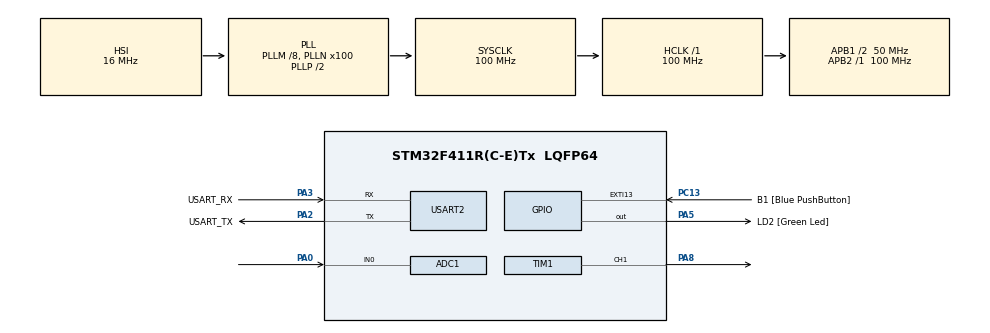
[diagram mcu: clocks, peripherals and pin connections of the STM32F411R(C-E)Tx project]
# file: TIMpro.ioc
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ADC1.Channel-0\#ChannelRegularConversion=ADC_CHANNEL_0
ADC1.ExternalTrigConv=ADC_EXTERNALTRIGCONV_T3_TRGO
ADC1.NbrOfConversionFlag=1
ADC1.Rank-0\#ChannelRegularConversion=1
ADC1.SamplingTime-0\#ChannelRegularConversion=ADC_SAMPLETIME_3CYCLES
ADC1.master=1
Mcu.Family=STM32F4
Mcu.Name=STM32F411R(C-E)Tx
Mcu.Package=LQFP64
NVIC.ADC_IRQn=true\:0\:0\:false\:false\:true\:true\:true
NVIC.PriorityGroup=NVIC_PRIORITYGROUP_0
NVIC.TIM1_TRG_COM_TIM11_IRQn=true\:0\:0\:false\:false\:true\:true\:true
PA0-WKUP.Signal=ADCx_IN0
PA13.GPIO_Label=TMS
PA13.Mode=Serial_Wire
PA13.Signal=SYS_JTMS-SWDIO
PA14.GPIO_Label=TCK
PA14.Mode=Serial_Wire
PA14.Signal=SYS_JTCK-SWCLK
PA2.GPIO_Label=USART_TX
PA2.Mode=Asynchronous
PA2.Signal=USART2_TX
PA3.GPIO_Label=USART_RX
PA3.Mode=Asynchronous
PA3.Signal=USART2_RX
PA5.GPIO_Label=LD2 [Green Led]
PA5.Signal=GPIO_Output
PA8.Signal=S_TIM1_CH1
PB3.GPIO_Label=SWO
PB3.Signal=SYS_JTDO-SWO
PC13-ANTI_TAMP.GPIO_Label=B1 [Blue PushButton]
PC13-ANTI_TAMP.GPIO_ModeDefaultEXTI=GPIO_MODE_IT_FALLING
PC13-ANTI_TAMP.Signal=GPXTI13
PC14-OSC32_IN.Mode=LSE-External-Oscillator
PC14-OSC32_IN.Signal=RCC_OSC32_IN
PC15-OSC32_OUT.Mode=LSE-External-Oscillator
PC15-OSC32_OUT.Signal=RCC_OSC32_OUT
PH0\ -\ OSC_IN.Mode=HSE-External-Clock-Source
PH0\ -\ OSC_IN.Signal=RCC_OSC_IN
PH1\ -\ OSC_OUT.Mode=HSE-External-Clock-Source
PH1\ -\ OSC_OUT.Signal=RCC_OSC_OUT
ProjectManager.HeapSize=0x200
ProjectManager.StackSize=0x400
ProjectManager.TargetToolchain=STM32CubeIDE
RCC.48MHZClocksFreq_Value=50000000
RCC.AHBFreq_Value=100000000
RCC.APB1CLKDivider=RCC_HCLK_DIV2
RCC.APB1Freq_Value=50000000
RCC.APB1TimFreq_Value=100000000
RCC.APB2Freq_Value=100000000
RCC.APB2TimFreq_Value=100000000
RCC.CortexFreq_Value=100000000
RCC.FLatency-AdvancedSettings=FLASH_LATENCY_3
RCC.HCLKFreq_Value=100000000
RCC.HSE_VALUE=8000000
RCC.HSI_VALUE=16000000
RCC.PLLM=8
RCC.PLLN=100
RCC.SYSCLKFreq_VALUE=100000000
RCC.SYSCLKSource=RCC_SYSCLKSOURCE_PLLCLK
RCC.VCOOutputFreq_Value=200000000
SH.ADCx_IN0.0=ADC1_IN0,IN0
SH.S_TIM1_CH1.0=TIM1_CH1,PWM Generation1 CH1
TIM1.Channel-PWM\ Generation1\ CH1=TIM_CHANNEL_1
TIM1.Period=10000-1
TIM11.Prescaler=99
TIM3.Period=999
TIM3.Prescaler=99
TIM3.TIM_MasterOutputTrigger=TIM_TRGO_UPDATE
USART2.VirtualMode=VM_ASYNC
VP_TIM11_VS_ClockSourceINT.Mode=Enable_Timer
VP_TIM1_VS_ClockSourceINT.Mode=Internal
VP_TIM3_VS_ClockSourceINT.Mode=Internal
board=NUCLEO-F411RE

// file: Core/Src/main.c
/* USER CODE BEGIN Header */
/**
 ******************************************************************************
 * @file           : main.c
 * @brief          : Main program body
 ******************************************************************************
 * @attention
 *
 * <h2><center>&copy; Copyright (c) 2021 STMicroelectronics.
 * All rights reserved.</center></h2>
 *
 * This software component is licensed by ST under BSD 3-Clause license,
 * the "License"; You may not use this file except in compliance with the
 * License. You may obtain a copy of the License at:
 *                        opensource.org/licenses/BSD-3-Clause
 *
 ******************************************************************************
 */
/* USER CODE END Header */
#include "main.h"

ADC_HandleTypeDef hadc1;

TIM_HandleTypeDef htim1;
TIM_HandleTypeDef htim3;
TIM_HandleTypeDef htim11;

UART_HandleTypeDef huart2;

/* USER CODE BEGIN PV */

uint8_t ADCUpdateFlag = 0;
//Store ADC Value
uint16_t ADCFeedBack = 0;
//ADC set point
uint16_t ADC_SetPoint = 1241;
//PID parameter
int16_t lastError = 0,error = 0,intregral = 0;
float Kp = 0.1;
float Ki = 0.0001;
float Kd = 0.1;
uint16_t PWMOut = 0; //= 0% PWM

uint64_t _micro = 0;
uint64_t TimeOutputLoop = 0;
/* USER CODE END PV */

void SystemClock_Config(void);
static void MX_GPIO_Init(void);
static void MX_USART2_UART_Init(void);
static void MX_ADC1_Init(void);
static void MX_TIM1_Init(void);
static void MX_TIM11_Init(void);
static void MX_TIM3_Init(void);
/* USER CODE BEGIN PFP */
uint64_t micros();
/* USER CODE END PFP */

int main(void)
{

  /* MCU Configuration--------------------------------------------------------*/

  /* Reset of all peripherals, Initializes the Flash interface and the Systick. */
  HAL_Init();

  /* Configure the system clock */
  SystemClock_Config();

  /* Initialize all configured peripherals */
  MX_GPIO_Init();
  MX_USART2_UART_Init();
  MX_ADC1_Init();
  MX_TIM1_Init();
  MX_TIM11_Init();
  MX_TIM3_Init();
  /* USER CODE BEGIN 2 */
  //ADC and Timer That Call ADC
	HAL_ADC_Start_IT(&hadc1);
	HAL_TIM_Base_Start(&htim3);

	//timer and OC that generate PWM
	HAL_TIM_Base_Start(&htim1);
	HAL_TIM_PWM_Start(&htim1, TIM_CHANNEL_1);

	//Timer For implement micros()
	HAL_TIM_Base_Start_IT(&htim11);

  /* USER CODE END 2 */

  /* Infinite loop */
	while (1) {

    /* USER CODE BEGIN 3 */

		//2 Khz Loop
		if (micros() - TimeOutputLoop > 500) {
			TimeOutputLoop = micros();
			// #001
			//TODO Implement Control
			__HAL_TIM_SET_COMPARE(&htim1, TIM_CHANNEL_1, PWMOut);
		}

		if (ADCUpdateFlag) {
			ADCUpdateFlag = 0;
			//#002
			error = ADC_SetPoint - ADCFeedBack;
			PWMOut = PWMOut + Kp*error + Ki * intregral + Kd*(error-lastError);
			if(PWMOut>=10000){
				PWMOut = 10000;
			}
			else if(PWMOut<=0){
				PWMOut = 0;
			}
			else{
				intregral += error;
			}
			lastError = error;
		}

	}
  /* USER CODE END 3 */
}

void SystemClock_Config(void)
{
  RCC_OscInitTypeDef RCC_OscInitStruct = {0};
  RCC_ClkInitTypeDef RCC_ClkInitStruct = {0};

  /** Configure the main internal regulator output voltage
  */
  __HAL_RCC_PWR_CLK_ENABLE();
  __HAL_PWR_VOLTAGESCALING_CONFIG(PWR_REGULATOR_VOLTAGE_SCALE1);
  /** Initializes the RCC Oscillators according to the specified parameters
  * in the RCC_OscInitTypeDef structure.
  */
  RCC_OscInitStruct.OscillatorType = RCC_OSCILLATORTYPE_HSI;
  RCC_OscInitStruct.HSIState = RCC_HSI_ON;
  RCC_OscInitStruct.HSICalibrationValue = RCC_HSICALIBRATION_DEFAULT;
  RCC_OscInitStruct.PLL.PLLState = RCC_PLL_ON;
  RCC_OscInitStruct.PLL.PLLSource = RCC_PLLSOURCE_HSI;
  RCC_OscInitStruct.PLL.PLLM = 8;
  RCC_OscInitStruct.PLL.PLLN = 100;
  RCC_OscInitStruct.PLL.PLLP = RCC_PLLP_DIV2;
  RCC_OscInitStruct.PLL.PLLQ = 4;
  if (HAL_RCC_OscConfig(&RCC_OscInitStruct) != HAL_OK)
  {
    Error_Handler();
  }
  /** Initializes the CPU, AHB and APB buses clocks
  */
  RCC_ClkInitStruct.ClockType = RCC_CLOCKTYPE_HCLK|RCC_CLOCKTYPE_SYSCLK
                              |RCC_CLOCKTYPE_PCLK1|RCC_CLOCKTYPE_PCLK2;
  RCC_ClkInitStruct.SYSCLKSource = RCC_SYSCLKSOURCE_PLLCLK;
  RCC_ClkInitStruct.AHBCLKDivider = RCC_SYSCLK_DIV1;
  RCC_ClkInitStruct.APB1CLKDivider = RCC_HCLK_DIV2;
  RCC_ClkInitStruct.APB2CLKDivider = RCC_HCLK_DIV1;

  if (HAL_RCC_ClockConfig(&RCC_ClkInitStruct, FLASH_LATENCY_3) != HAL_OK)
  {
    Error_Handler();
  }
}

static void MX_ADC1_Init(void)
{

  ADC_ChannelConfTypeDef sConfig = {0};

  /** Configure the global features of the ADC (Clock, Resolution, Data Alignment and number of conversion)
  */
  hadc1.Instance = ADC1;
  hadc1.Init.ClockPrescaler = ADC_CLOCK_SYNC_PCLK_DIV4;
  hadc1.Init.Resolution = ADC_RESOLUTION_12B;
  hadc1.Init.ScanConvMode = DISABLE;
  hadc1.Init.ContinuousConvMode = DISABLE;
  hadc1.Init.DiscontinuousConvMode = DISABLE;
  hadc1.Init.ExternalTrigConvEdge = ADC_EXTERNALTRIGCONVEDGE_RISING;
  hadc1.Init.ExternalTrigConv = ADC_EXTERNALTRIGCONV_T3_TRGO;
  hadc1.Init.DataAlign = ADC_DATAALIGN_RIGHT;
  hadc1.Init.NbrOfConversion = 1;
  hadc1.Init.DMAContinuousRequests = DISABLE;
  hadc1.Init.EOCSelection = ADC_EOC_SINGLE_CONV;
  if (HAL_ADC_Init(&hadc1) != HAL_OK)
  {
    Error_Handler();
  }
  /** Configure for the selected ADC regular channel its corresponding rank in the sequencer and its sample time.
  */
  sConfig.Channel = ADC_CHANNEL_0;
  sConfig.Rank = 1;
  sConfig.SamplingTime = ADC_SAMPLETIME_28CYCLES;
  if (HAL_ADC_ConfigChannel(&hadc1, &sConfig) != HAL_OK)
  {
    Error_Handler();
  }

}

static void MX_TIM1_Init(void)
{

  TIM_ClockConfigTypeDef sClockSourceConfig = {0};
  TIM_MasterConfigTypeDef sMasterConfig = {0};
  TIM_OC_InitTypeDef sConfigOC = {0};
  TIM_BreakDeadTimeConfigTypeDef sBreakDeadTimeConfig = {0};

  htim1.Instance = TIM1;
  htim1.Init.Prescaler = 0;
  htim1.Init.CounterMode = TIM_COUNTERMODE_UP;
  htim1.Init.Period = 9999;
  htim1.Init.ClockDivision = TIM_CLOCKDIVISION_DIV1;
  htim1.Init.RepetitionCounter = 0;
  htim1.Init.AutoReloadPreload = TIM_AUTORELOAD_PRELOAD_ENABLE;
  if (HAL_TIM_Base_Init(&htim1) != HAL_OK)
  {
    Error_Handler();
  }
  sClockSourceConfig.ClockSource = TIM_CLOCKSOURCE_INTERNAL;
  if (HAL_TIM_ConfigClockSource(&htim1, &sClockSourceConfig) != HAL_OK)
  {
    Error_Handler();
  }
  if (HAL_TIM_PWM_Init(&htim1) != HAL_OK)
  {
    Error_Handler();
  }
  sMasterConfig.MasterOutputTrigger = TIM_TRGO_RESET;
  sMasterConfig.MasterSlaveMode = TIM_MASTERSLAVEMODE_DISABLE;
  if (HAL_TIMEx_MasterConfigSynchronization(&htim1, &sMasterConfig) != HAL_OK)
  {
    Error_Handler();
  }
  sConfigOC.OCMode = TIM_OCMODE_PWM1;
  sConfigOC.Pulse = 0;
  sConfigOC.OCPolarity = TIM_OCPOLARITY_HIGH;
  sConfigOC.OCNPolarity = TIM_OCNPOLARITY_HIGH;
  sConfigOC.OCFastMode = TIM_OCFAST_DISABLE;
  sConfigOC.OCIdleState = TIM_OCIDLESTATE_RESET;
  sConfigOC.OCNIdleState = TIM_OCNIDLESTATE_RESET;
  if (HAL_TIM_PWM_ConfigChannel(&htim1, &sConfigOC, TIM_CHANNEL_1) != HAL_OK)
  {
    Error_Handler();
  }
  sBreakDeadTimeConfig.OffStateRunMode = TIM_OSSR_DISABLE;
  sBreakDeadTimeConfig.OffStateIDLEMode = TIM_OSSI_DISABLE;
  sBreakDeadTimeConfig.LockLevel = TIM_LOCKLEVEL_OFF;
  sBreakDeadTimeConfig.DeadTime = 0;
  sBreakDeadTimeConfig.BreakState = TIM_BREAK_DISABLE;
  sBreakDeadTimeConfig.BreakPolarity = TIM_BREAKPOLARITY_HIGH;
  sBreakDeadTimeConfig.AutomaticOutput = TIM_AUTOMATICOUTPUT_DISABLE;
  if (HAL_TIMEx_ConfigBreakDeadTime(&htim1, &sBreakDeadTimeConfig) != HAL_OK)
  {
    Error_Handler();
  }
  HAL_TIM_MspPostInit(&htim1);

}

static void MX_TIM3_Init(void)
{

  TIM_ClockConfigTypeDef sClockSourceConfig = {0};
  TIM_MasterConfigTypeDef sMasterConfig = {0};

  htim3.Instance = TIM3;
  htim3.Init.Prescaler = 99;
  htim3.Init.CounterMode = TIM_COUNTERMODE_UP;
  htim3.Init.Period = 999;
  htim3.Init.ClockDivision = TIM_CLOCKDIVISION_DIV1;
  htim3.Init.AutoReloadPreload = TIM_AUTORELOAD_PRELOAD_DISABLE;
  if (HAL_TIM_Base_Init(&htim3) != HAL_OK)
  {
    Error_Handler();
  }
  sClockSourceConfig.ClockSource = TIM_CLOCKSOURCE_INTERNAL;
  if (HAL_TIM_ConfigClockSource(&htim3, &sClockSourceConfig) != HAL_OK)
  {
    Error_Handler();
  }
  sMasterConfig.MasterOutputTrigger = TIM_TRGO_UPDATE;
  sMasterConfig.MasterSlaveMode = TIM_MASTERSLAVEMODE_DISABLE;
  if (HAL_TIMEx_MasterConfigSynchronization(&htim3, &sMasterConfig) != HAL_OK)
  {
    Error_Handler();
  }

}

static void MX_TIM11_Init(void)
{

  htim11.Instance = TIM11;
  htim11.Init.Prescaler = 99;
  htim11.Init.CounterMode = TIM_COUNTERMODE_UP;
  htim11.Init.Period = 65535;
  htim11.Init.ClockDivision = TIM_CLOCKDIVISION_DIV1;
  htim11.Init.AutoReloadPreload = TIM_AUTORELOAD_PRELOAD_DISABLE;
  if (HAL_TIM_Base_Init(&htim11) != HAL_OK)
  {
    Error_Handler();
  }

}

static void MX_USART2_UART_Init(void)
{

  huart2.Instance = USART2;
  huart2.Init.BaudRate = 115200;
  huart2.Init.WordLength = UART_WORDLENGTH_8B;
  huart2.Init.StopBits = UART_STOPBITS_1;
  huart2.Init.Parity = UART_PARITY_NONE;
  huart2.Init.Mode = UART_MODE_TX_RX;
  huart2.Init.HwFlowCtl = UART_HWCONTROL_NONE;
  huart2.Init.OverSampling = UART_OVERSAMPLING_16;
  if (HAL_UART_Init(&huart2) != HAL_OK)
  {
    Error_Handler();
  }

}

static void MX_GPIO_Init(void)
{
  GPIO_InitTypeDef GPIO_InitStruct = {0};

  /* GPIO Ports Clock Enable */
  __HAL_RCC_GPIOC_CLK_ENABLE();
  __HAL_RCC_GPIOH_CLK_ENABLE();
  __HAL_RCC_GPIOA_CLK_ENABLE();
  __HAL_RCC_GPIOB_CLK_ENABLE();

  /*Configure GPIO pin Output Level */
  HAL_GPIO_WritePin(LD2_GPIO_Port, LD2_Pin, GPIO_PIN_RESET);

  /*Configure GPIO pin : B1_Pin */
  GPIO_InitStruct.Pin = B1_Pin;
  GPIO_InitStruct.Mode = GPIO_MODE_IT_FALLING;
  GPIO_InitStruct.Pull = GPIO_NOPULL;
  HAL_GPIO_Init(B1_GPIO_Port, &GPIO_InitStruct);

  /*Configure GPIO pin : LD2_Pin */
  GPIO_InitStruct.Pin = LD2_Pin;
  GPIO_InitStruct.Mode = GPIO_MODE_OUTPUT_PP;
  GPIO_InitStruct.Pull = GPIO_NOPULL;
  GPIO_InitStruct.Speed = GPIO_SPEED_FREQ_LOW;
  HAL_GPIO_Init(LD2_GPIO_Port, &GPIO_InitStruct);

}

/* USER CODE BEGIN 4 */

void HAL_ADC_ConvCpltCallback(ADC_HandleTypeDef *hadc)
{
	ADCFeedBack = HAL_ADC_GetValue(&hadc1);
	ADCUpdateFlag = 1;
}

void HAL_TIM_PeriodElapsedCallback(TIM_HandleTypeDef *htim) {
	if (htim == &htim11) {
		_micro += 65535;
	}
}

uint64_t micros() {
	return _micro + htim11.Instance->CNT;
}
/* USER CODE END 4 */

void Error_Handler(void)
{
	__disable_irq();
	while (1)
	{
	}
}
